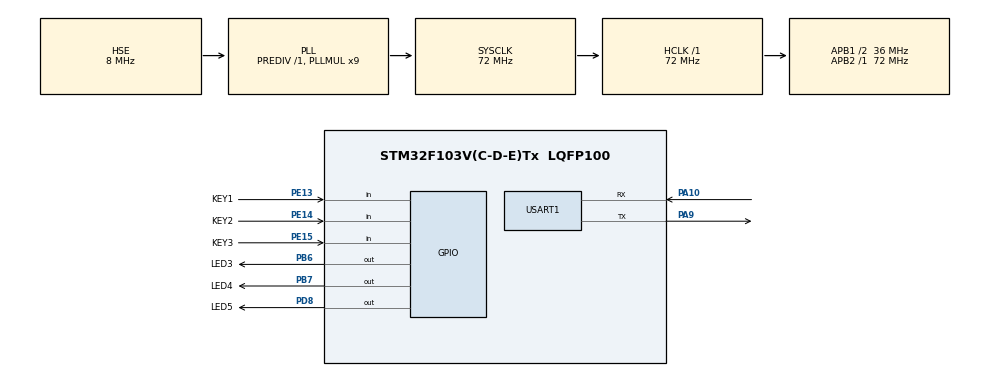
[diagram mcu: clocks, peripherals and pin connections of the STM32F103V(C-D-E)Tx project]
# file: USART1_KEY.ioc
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Mcu.Family=STM32F1
Mcu.Name=STM32F103V(C-D-E)Tx
Mcu.Package=LQFP100
NVIC.PriorityGroup=NVIC_PRIORITYGROUP_4
NVIC.USART1_IRQn=true\:1\:0\:true\:false\:true\:true\:true\:true
OSC_IN.Mode=HSE-External-Oscillator
OSC_IN.Signal=RCC_OSC_IN
OSC_OUT.Mode=HSE-External-Oscillator
OSC_OUT.Signal=RCC_OSC_OUT
PA10.Mode=Asynchronous
PA10.Signal=USART1_RX
PA13.Mode=Serial_Wire
PA13.Signal=SYS_JTMS-SWDIO
PA14.Mode=Serial_Wire
PA14.Signal=SYS_JTCK-SWCLK
PA9.Mode=Asynchronous
PA9.Signal=USART1_TX
PB6.GPIO_Label=LED3
PB6.PinState=GPIO_PIN_SET
PB6.Signal=GPIO_Output
PB7.GPIO_Label=LED4
PB7.PinState=GPIO_PIN_SET
PB7.Signal=GPIO_Output
PD8.GPIO_Label=LED5
PD8.PinState=GPIO_PIN_SET
PD8.Signal=GPIO_Output
PE13.GPIO_Label=KEY1
PE13.GPIO_PuPd=GPIO_PULLUP
PE13.Signal=GPIO_Input
PE14.GPIO_Label=KEY2
PE14.GPIO_PuPd=GPIO_PULLUP
PE14.Signal=GPIO_Input
PE15.GPIO_Label=KEY3
PE15.GPIO_PuPd=GPIO_PULLUP
PE15.Signal=GPIO_Input
ProjectManager.HeapSize=0x200
ProjectManager.StackSize=0x400
ProjectManager.TargetToolchain=MDK-ARM V5.32
RCC.AHBFreq_Value=72000000
RCC.APB1CLKDivider=RCC_HCLK_DIV2
RCC.APB1Freq_Value=36000000
RCC.APB1TimFreq_Value=72000000
RCC.APB2Freq_Value=72000000
RCC.APB2TimFreq_Value=72000000
RCC.HCLKFreq_Value=72000000
RCC.PLLMUL=RCC_PLL_MUL9
RCC.PLLSourceVirtual=RCC_PLLSOURCE_HSE
RCC.SYSCLKFreq_VALUE=72000000
RCC.SYSCLKSource=RCC_SYSCLKSOURCE_PLLCLK
RCC.USBFreq_Value=72000000
USART1.VirtualMode=VM_ASYNC
board=custom

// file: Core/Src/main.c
/*******************************************************************************

 * @file      main.c
 * @author    Sunbinyuan（EEE2409036@xmu.edu.my）
 * @version   V1.0.0
 * @date      2026-10-19
 * @brief     串口命令+按键控制LED实验: 3按键轮询扫描打印
 *           与翻转LED, 串口命令解析(PING/LED控制)

 * @note     预期现象: 上电串口打印USART1 KEY DEMO READY; 按SW2/SW3/SW4
 *           打印KEY1/2/3 PRESSED并翻转LED3/4/5; 收到PING回PONG;
 *           收到LED<n> ON|OFF|TOGGLE|STATUS(n=3..5,同丝印)控制LED并回应答
 *           (串口115200-8-N-1, 命令以\r\n结尾, 不区分大小写)

 * @history   V1.0.0 首版: 串口命令+按键控制LED轮询实验               ---2026-10-19
 ******************************************************************************/

#include "main.h"
#include "usart.h"
#include "gpio.h"

/* USER CODE BEGIN Includes */
#include <stdio.h>
#include <string.h>
#include <ctype.h>
/* USER CODE END Includes */

/* USER CODE BEGIN PD */
#define KEY_SCAN_PERIOD_MS       10U  /* 按键扫描周期(ms) */
#define KEY_DEBOUNCE_COUNT        2U  /* 连续N次采样一致确认按下(约20ms) */
#define KEY_RELEASE_COUNT         2U  /* 连续N次采样一致确认松开 */
#define KEY_COUNT                 3U  /* 按键数量 */
#define CMD_BUF_SIZE             32U  /* 命令缓冲大小(含结束符) */
/* USER CODE END PD */

/* USER CODE BEGIN PV */
static uint8_t g_key_pressed_cnt[KEY_COUNT] = {0U};  /* 按下消抖计数器 */
static uint8_t g_key_release_cnt[KEY_COUNT] = {0U};  /* 松开消抖计数器 */
static uint8_t g_key_locked[KEY_COUNT] = {0U};       /* 1=已触发等松开 */
static uint32_t g_key_last_scan_tick = 0U;           /* 上次扫描时刻 */

static const uint16_t s_key_pins[KEY_COUNT] = {
  KEY1_Pin, KEY2_Pin, KEY3_Pin
};
/* 按键引脚: KEY1=PE13(SW2) KEY2=PE14(SW3) KEY3=PE15(SW4), 按下为低 */

static GPIO_TypeDef *const s_key_ports[KEY_COUNT] = {
  KEY1_GPIO_Port, KEY2_GPIO_Port, KEY3_GPIO_Port
};
/* 按键端口表; 指针本身const, 兼容HAL非const参数 */

static const uint16_t s_led_pins[KEY_COUNT] = {
  LED3_Pin, LED4_Pin, LED5_Pin
};
/* LED引脚表: LED3=PB6 LED4=PB7 LED5=PD8, 低电平点亮, 与按键一一对应 */

static GPIO_TypeDef *const s_led_ports[KEY_COUNT] = {
  LED3_GPIO_Port, LED4_GPIO_Port, LED5_GPIO_Port
};
/* LED端口表 */
/* USER CODE END PV */

void SystemClock_Config(void);
/* USER CODE BEGIN PFP */
static void Key_Scan(void);
static void Cmd_Process(void);
static void Led_Set(uint8_t idx, uint8_t on);
static uint8_t Led_Get(uint8_t idx);
static void Cmd_Handle(char *cmd);
/* USER CODE END PFP */

/*************************************
 * 函数名称 ： main
 * 描述     ： 主函数, 初始化时钟/GPIO/串口后打印banner,
 *           主循环轮询执行按键扫描与串口命令处理
 * 输入     ： 无
 * 输出     ： 无
 * 返回     ： 程序不返回
 **************************************/
int main(void)
{

  /* MCU Configuration--------------------------------------------------------*/

  /* 复位所有外设, 初始化Flash接口与SysTick */
  HAL_Init();

  /* Configure the system clock */
  SystemClock_Config();

  /* Initialize all configured peripherals */
  MX_GPIO_Init();
  MX_USART1_UART_Init();
  /* USER CODE BEGIN 2 */
  printf("USART1 KEY DEMO READY\r\n");
  /* USER CODE END 2 */

  /* Infinite loop */
  while (1)
  {

    /* USER CODE BEGIN 3 */
    Key_Scan();      /* 按键: 打印KEYx PRESSED并翻转对应LED */
    Cmd_Process();   /* 串口命令: PING / LEDx ON|OFF|TOGGLE|STATUS */
  }
  /* USER CODE END 3 */
}

/*************************************
 * 函数名称 ： SystemClock_Config
 * 描述     ： 配置系统时钟: HSE 8MHz经PLL 9倍频至72MHz,
 *           AHB=72MHz, APB1=36MHz, APB2=72MHz, Flash等待2周期
 * 输入     ： 无
 * 输出     ： 无
 * 返回     ： 无
 **************************************/
void SystemClock_Config(void)
{
  RCC_OscInitTypeDef RCC_OscInitStruct = {0};
  RCC_ClkInitTypeDef RCC_ClkInitStruct = {0};

  /** Initializes the RCC Oscillators according to the specified parameters
  * in the RCC_OscInitTypeDef structure.
  */
  RCC_OscInitStruct.OscillatorType = RCC_OSCILLATORTYPE_HSE;
  RCC_OscInitStruct.HSEState = RCC_HSE_ON;
  RCC_OscInitStruct.HSEPredivValue = RCC_HSE_PREDIV_DIV1;
  RCC_OscInitStruct.HSIState = RCC_HSI_ON;
  RCC_OscInitStruct.PLL.PLLState = RCC_PLL_ON;
  RCC_OscInitStruct.PLL.PLLSource = RCC_PLLSOURCE_HSE;
  RCC_OscInitStruct.PLL.PLLMUL = RCC_PLL_MUL9;
  if (HAL_RCC_OscConfig(&RCC_OscInitStruct) != HAL_OK)
  {
    Error_Handler();
  }

  /** Initializes the CPU, AHB and APB buses clocks
  */
  RCC_ClkInitStruct.ClockType = RCC_CLOCKTYPE_HCLK|RCC_CLOCKTYPE_SYSCLK
                              |RCC_CLOCKTYPE_PCLK1|RCC_CLOCKTYPE_PCLK2;
  RCC_ClkInitStruct.SYSCLKSource = RCC_SYSCLKSOURCE_PLLCLK;
  RCC_ClkInitStruct.AHBCLKDivider = RCC_SYSCLK_DIV1;
  RCC_ClkInitStruct.APB1CLKDivider = RCC_HCLK_DIV2;
  RCC_ClkInitStruct.APB2CLKDivider = RCC_HCLK_DIV1;

  if (HAL_RCC_ClockConfig(&RCC_ClkInitStruct, FLASH_LATENCY_2) != HAL_OK)
  {
    Error_Handler();
  }
}

/* USER CODE BEGIN 4 */
/*************************************
 * 函数名称 ： Key_Scan
 * 描述     ： 非阻塞按键扫描, 10ms周期采样, 连续2次低电平
 *             确认按下后打印KEYx PRESSED并翻转对应LED,
 *             连续2次高电平确认松开后才允许下次触发
 * 输入     ： 无
 * 输出     ： 无
 * 返回     ： 无
 **************************************/
static void Key_Scan(void)
{
  uint32_t now = HAL_GetTick();
  uint8_t i;

  if ((uint32_t)(now - g_key_last_scan_tick) < KEY_SCAN_PERIOD_MS)
  {
    return;                                   /* 未到扫描周期 */
  }
  g_key_last_scan_tick = now;

  for (i = 0U; i < KEY_COUNT; i++)
  {
    if (HAL_GPIO_ReadPin(s_key_ports[i], s_key_pins[i]) == GPIO_PIN_RESET)
    {
      g_key_pressed_cnt[i]++;                 /* 采样到按下(低电平) */
      g_key_release_cnt[i] = 0U;
      if ((g_key_locked[i] == 0U) &&
          (g_key_pressed_cnt[i] >= KEY_DEBOUNCE_COUNT))
      {
        printf("KEY%u PRESSED\r\n", (unsigned)(i + 1U));
        HAL_GPIO_TogglePin(s_led_ports[i], s_led_pins[i]);
        g_key_locked[i] = 1U;                 /* 按住只触发一次 */
      }
    }
    else
    {
      g_key_release_cnt[i]++;                 /* 采样到松开(高电平) */
      g_key_pressed_cnt[i] = 0U;
      if (g_key_release_cnt[i] >= KEY_RELEASE_COUNT)
      {
        g_key_locked[i] = 0U;                 /* 确认松开后解锁 */
      }
    }
  }
}

/*************************************
 * 函数名称 ： Cmd_Process
 * 描述     ： 串口命令处理, 收到完整一帧(\r\n结尾)后取出
 *             转大写交给Cmd_Handle解析, 然后复位接收状态
 * 输入     ： 无
 * 输出     ： 无
 * 返回     ： 无
 **************************************/
static void Cmd_Process(void)
{
  char cmd[CMD_BUF_SIZE];
  uint16_t len;
  uint16_t i;

  if ((g_usart1_rx_sta & 0x8000U) == 0U)
  {
    return;                                   /* 无完整帧 */
  }

  len = g_usart1_rx_sta & 0x3FFFU;
  if (len >= CMD_BUF_SIZE)
  {
    len = CMD_BUF_SIZE - 1U;                  /* 截断超长命令 */
  }
  for (i = 0U; i < len; i++)
  {
    cmd[i] = (char)toupper((int)g_usart1_rx_buf[i]);
  }
  cmd[len] = '\0';
  g_usart1_rx_sta = 0U;                       /* 复位, 允许接收下一帧 */

  if (len > 0U)
  {
    Cmd_Handle(cmd);
  }
}

/*************************************
 * 函数名称 ： Cmd_Handle
 * 描述     ： 命令解析执行: PING->PONG;
 *             LEDx ON/OFF/TOGGLE|STATUS (x=3..5, 与板上丝印一致,
 *             LED3=PB6/LED4=PB7/LED5=PD8); 未知命令回ERR
 * 输入     ： cmd - 已转大写、以'\0'结尾的命令串
 * 输出     ： 无
 * 返回     ： 无
 **************************************/
static void Cmd_Handle(char *cmd)
{
  uint8_t idx;
  char *arg;

  if (strcmp(cmd, "PING") == 0)
  {
    printf("PONG\r\n");
    return;
  }

  /* 命令编号直接用板上丝印: LED3/LED4/LED5 (PB6/PB7/PD8) */
  if ((strncmp(cmd, "LED", 3U) == 0) && (isdigit((int)cmd[3]) != 0) &&
      (cmd[3] >= '3') && (cmd[3] <= '5'))
  {
    idx = (uint8_t)(cmd[3] - '3');            /* LED3->0 LED4->1 LED5->2 */
    arg = &cmd[4];
    if (strcmp(arg, " ON") == 0)
    {
      Led_Set(idx, 1U);
      printf("LED%u ON OK\r\n", (unsigned)(idx + 3U));
    }
    else if (strcmp(arg, " OFF") == 0)
    {
      Led_Set(idx, 0U);
      printf("LED%u OFF OK\r\n", (unsigned)(idx + 3U));
    }
    else if (strcmp(arg, " TOGGLE") == 0)
    {
      HAL_GPIO_TogglePin(s_led_ports[idx], s_led_pins[idx]);
      printf("LED%u TOGGLE OK\r\n", (unsigned)(idx + 3U));
    }
    else if (strcmp(arg, " STATUS") == 0)
    {
      printf("LED%u %s\r\n", (unsigned)(idx + 3U),
             (Led_Get(idx) != 0U) ? "ON" : "OFF");
    }
    else
    {
      printf("ERR USAGE: LED<n> ON|OFF|TOGGLE|STATUS (n=3..5)\r\n");
    }
    return;
  }

  printf("ERR UNKNOWN CMD\r\n");
}

/*************************************
 * 函数名称 ： Led_Set
 * 描述     ： 设置LED开关(低电平点亮, 写RESET=亮)
 * 输入     ： idx - LED索引0..2(LED3..LED5); on - 1亮0灭
 * 输出     ： 无
 * 返回     ： 无
 **************************************/
static void Led_Set(uint8_t idx, uint8_t on)
{
  HAL_GPIO_WritePin(s_led_ports[idx], s_led_pins[idx],
                    (on != 0U) ? GPIO_PIN_RESET : GPIO_PIN_SET);
}

/*************************************
 * 函数名称 ： Led_Get
 * 描述     ： 读LED当前状态(低电平=亮)
 * 输入     ： idx - LED索引0..2(LED3..LED5)
 * 输出     ： 无
 * 返回     ： 1=亮 0=灭
 **************************************/
static uint8_t Led_Get(uint8_t idx)
{
  return (HAL_GPIO_ReadPin(s_led_ports[idx], s_led_pins[idx])
          == GPIO_PIN_RESET) ? 1U : 0U;
}
/* USER CODE END 4 */

/*************************************
 * 函数名称 ： Error_Handler
 * 描述     ： HAL库错误处理, 关全局中断后死循环(可在此挂断言/日志)
 * 输入     ： 无
 * 输出     ： 无
 * 返回     ： 无
 **************************************/
void Error_Handler(void)
{
  __disable_irq();
  while (1)
  {
  }
}
#ifdef USE_FULL_ASSERT
/*************************************
 * 函数名称 ： assert_failed
 * 描述     ： HAL参数断言失败回调, 报告源文件名与行号
 * 输入     ： file - 源文件名指针; line - 断言行号
 * 输出     ： 无
 * 返回     ： 无
 **************************************/
void assert_failed(uint8_t *file, uint32_t line)
{
  /* USER CODE BEGIN 6 */
    /* 用户可在此报告断言失败的文件名与行号 */
  /* USER CODE END 6 */
}
#endif /* USE_FULL_ASSERT */
